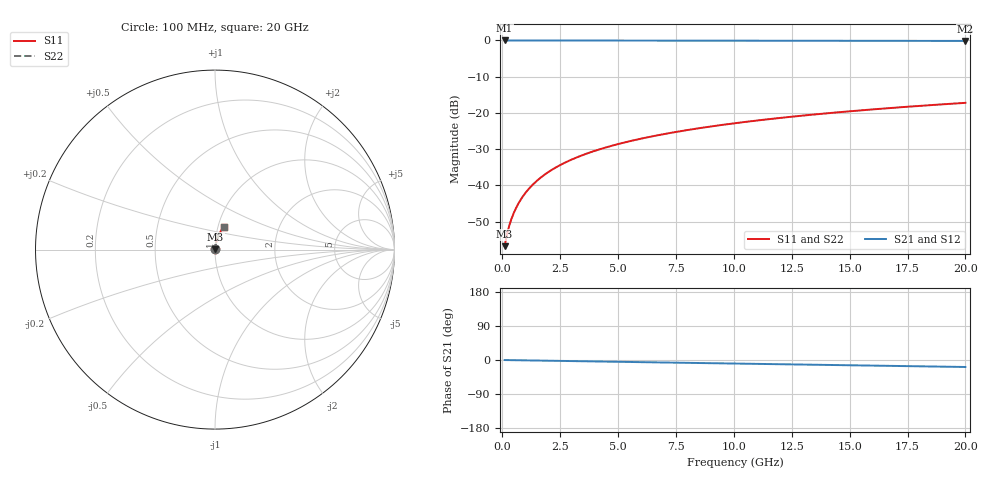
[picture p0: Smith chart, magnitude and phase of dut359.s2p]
! Touchstone file exported from HFSS 2026.1.0
!  File:  C:/ffzhzh/LocalFiles/Ansys_Project_Files/temp_train_TMRDL_359_1783004121_55676.aedt
!  Generated:  10:56:37 PM Jul  2, 2026
!  Design:  TMRDL
!  Project:  temp_train_TMRDL_359_1783004121_55676
! Variables:
!  h_bsmrdl = 2um
!  h_ox = 20um
!  h_rdl = 5um
!  h_sub = 80um
!  h_tmrdl = 5um
!  h_tsv = 80um
!  h_via = 3um
!  l_bsmrdl = 300um
!  l_sub = 677.74um
!  l_tmrdl = 277.74um
!  m_sub = 200um
!  pitch = 35.34um
!  r_tsv = 6um
!  s_tmrdl = 10um
!  w_bsmrdl = 18um
!  w_sub = 500um
!  w_tmrdl = 19.76um
!  x_tsv_center1 = 287.62um
!  x_tsv_center2 = 605.62um
!  x_tsv_center3 = 903.12um
!  x_tsv_center4 = 1221.12um
!  x_tsv_center5 = 1518.62um
!  x_tsv_center6 = 1836.62um
# GHz S MA R 50.000000
! Terminal data exported
! Port[1] = TM_RDL1_1_T1
! Port[2] = TM_RDL1_1_T2
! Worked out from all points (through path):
!   200 points, 100 MHz to 20 GHz, reference 50 ohm
!   highest |S21| = -0.01 dB at 100 MHz (marker M1); lowest = -0.1 dB at 20 GHz (marker M2)
!   group delay of S21, straight-line fit = 2.56 ps
!   lowest |S11| = -56.8 dB at 100 MHz (marker M3), VSWR 1.00, Z = 50.1 + j0.0876 ohm
!   |S11| at or under -10 dB: start of sweep to end of sweep
!   |S22| runs from -56.8 to -17.2 dB; largest |S21 - S12| = 2.2e-15
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0.1  0.001448 37.1  0.9988 -0.1  0.9988 -0.1  0.001448 37.1
! Gamma 0 0 0 0
! Port Impedance 50 0 50 0
0.2  0.00209 53.5  0.9988 -0.2  0.9988 -0.2  0.00209 53.5
0.3  0.002776 61.7  0.9987 -0.3  0.9987 -0.3  0.002776 61.7
0.4  0.003476 66.8  0.9986 -0.4  0.9986 -0.4  0.003476 66.8
0.5  0.004188 70.2  0.9986 -0.5  0.9986 -0.5  0.004188 70.2
0.6  0.004912 72.7  0.9986 -0.6  0.9986 -0.6  0.004912 72.7
0.8  0.006381 76.0  0.9985 -0.8  0.9985 -0.8  0.006381 76.0
1.1  0.008614 78.7  0.9984 -1.1  0.9984 -1.1  0.008614 78.7
1.3  0.01011 79.8  0.9984 -1.3  0.9984 -1.3  0.01011 79.8
1.6  0.01236 80.7  0.9982 -1.5  0.9982 -1.5  0.01236 80.7
2.1  0.01609 81.5  0.998 -2.0  0.998 -2.0  0.01609 81.5
2.7  0.02053 81.7  0.9977 -2.6  0.9977 -2.6  0.02053 81.7
3.5  0.02638 81.5  0.9973 -3.3  0.9973 -3.3  0.02638 81.5
4.2  0.03142 81.1  0.9968 -4.0  0.9968 -4.0  0.03142 81.1
5  0.03712 80.6  0.9963 -4.7  0.9963 -4.7  0.03712 80.6
5.9  0.04346 80.0  0.9957 -5.6  0.9957 -5.6  0.04346 80.0
6.8  0.04973 79.4  0.9951 -6.4  0.9951 -6.4  0.04973 79.4
8.3  0.0601 78.3  0.9941 -7.8  0.9941 -7.8  0.0601 78.3
10.1  0.07239 77.0  0.9928 -9.5  0.9928 -9.5  0.0724 77.0
13.4  0.0946 74.4  0.9903 -12.5  0.9903 -12.5  0.0946 74.3
16.7  0.1164 71.7  0.9874 -15.5  0.9874 -15.5  0.1164 71.6
20  0.1376 68.9  0.9841 -18.5  0.9841 -18.5  0.1376 68.9
